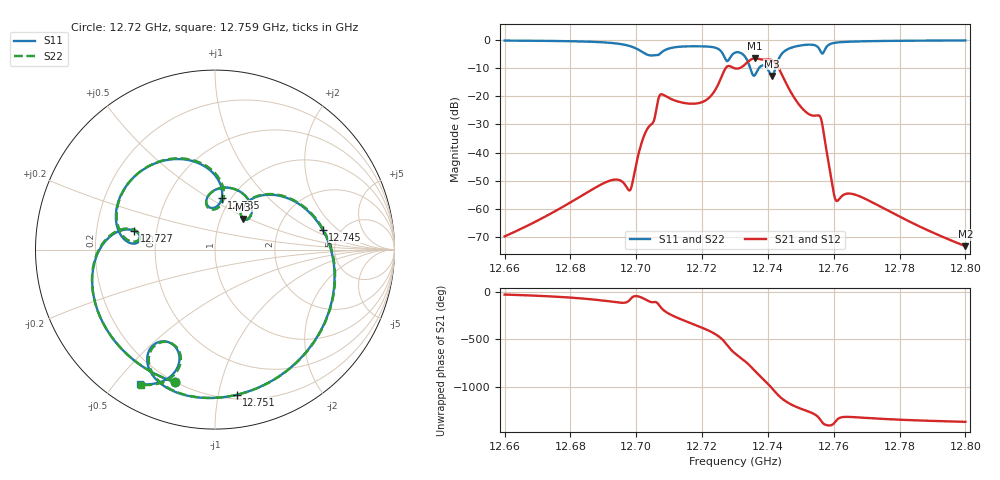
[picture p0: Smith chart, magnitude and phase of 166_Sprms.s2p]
! TOUCHSTONE file generated by CST MICROWAVE STUDIO
! Date and time: Wed Jul 31 19:15:07 2024
! Project name: WaveGuide_BPF-Ver4.1_U-shape_Ku_T3_C4_CWA_2.cst
! Parameters = {cavity_h=16; cavity_l0=10; cavity_l1=15.232; cavity_l2=16.8525; cavity_l3=17.1352; cavity_l4=17.2266; cavity_l5=17.0977; cavity_l6=17.6213; cavity_r=2.5; cavity_screw_l=0.5; cavity_screw_r=1.5; cavity_w=8; iris_h00=0; iris_h01=8.7997; iris_h112=0; iris_h12=5.5967; iris_h211=3.6645; i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
! Header version: 2018
! Port assignment regex: !\s*Touchstone port\s*([0-9]+)\s*=\s*(CST MWS port|CST DS port)\s*([0-9]+|Zmin|Zmax)\s*\(\"(.*)\"\)(\s*mode\s*([0-9]+))?.*
! Touchstone port assignment:
! Touchstone port 1 = CST MWS port 1 ("")
! Touchstone port 2 = CST MWS port 2 ("")
# GHz S RI R 50
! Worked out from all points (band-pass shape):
!   5001 points, 12.66 GHz to 12.8 GHz, reference 50 ohm
!   highest |S21| = -6.51 dB at 12.736 GHz (marker M1); lowest = -73.2 dB at 12.8 GHz (marker M2)
!   |S21| within 3 dB of the highest: 12.72749 GHz to 12.72891 GHz (1.423 MHz wide, 0.0112 % of centre); 12.73214 GHz to 12.74305 GHz (10.91 MHz wide, 0.0856 % of centre)
!   lowest |S11| = -12.7 dB at 12.741 GHz (marker M3), VSWR 1.60, Z = 63.7 + j23 ohm
!   |S11| at or under -10 dB: 12.73464 GHz to 12.73727 GHz (2.63 MHz wide, 0.0206 % of centre); 12.73975 GHz to 12.74227 GHz (2.526 MHz wide, 0.0198 % of centre)
!   |S22| runs from -13.0 to -0.1 dB; largest |S21 - S12| = 1e-09
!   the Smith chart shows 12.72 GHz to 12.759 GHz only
!   S11 on the Smith chart (normalised r, x): 12.72 GHz: 0.20, -0.73; 12.727 GHz: 0.37, +0.10; 12.735 GHz: 0.91, +0.57; 12.745 GHz: 3.64, +1.29; 12.751 GHz: 0.23, -1.13; 12.759 GHz: 0.10, -0.58
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12.66  0.3825 0.9001  0.000289 -0.000149  0.000289 -0.000149  0.3817 0.9006
12.68335  0.8354 0.4386  0.000641 -0.00158  0.000641 -0.00158  0.8337 0.4423
12.69377  0.8351 -0.252  -0.00102 -0.00317  -0.00102 -0.00317  0.8365 -0.2472
12.6997  0.1453 -0.7039  0.00379 -0.00357  0.00379 -0.00357  0.1427 -0.7013
12.70348  -0.5339 -0.1147  -0.000825 -0.0272  -0.000825 -0.0272  -0.5334 -0.0968
12.70668  -0.0692 0.5394  -0.0532 -0.07  -0.0532 -0.07  -0.0516 0.5451
12.71261  0.7502 -0.0882  0.00513 0.081  0.00513 0.081  0.7517 -0.0939
12.72034  -0.2215 -0.7389  0.075 -0.0291  0.075 -0.0291  -0.2243 -0.7377
12.72706  -0.4499 0.1053  -0.3097 -0.0234  -0.3097 -0.0234  -0.4521 0.1113
12.73  -0.5459 0.241  0.0904 0.3004  0.0904 0.3004  -0.5396 0.2544
12.73484  0.0379 0.2886  0.1742 -0.4156  0.1742 -0.4156  0.0467 0.2795
12.73608  -0.0335 0.237  -0.1767 -0.4381  -0.1767 -0.4381  -0.0328 0.2287
12.73846  0.0976 0.3409  -0.4365 0.1059  -0.4365 0.1059  0.0948 0.341
12.74123  0.155 0.1708  0.1717 0.4071  0.1717 0.4071  0.155 0.1739
12.7447  0.5997 0.1111  0.1271 -0.1723  0.1271 -0.1723  0.5998 0.118
12.75108  0.1209 -0.8089  -0.0532 -0.0164  -0.0532 -0.0164  0.1302 -0.8068
12.75335  -0.1862 -0.8053  -0.0446 0.0104  -0.0446 0.0104  -0.1785 -0.8056
12.7561  -0.3269 -0.5207  0.00188 0.0405  0.00188 0.0405  -0.3126 -0.5207
12.75909  -0.4163 -0.7493  0.00316 0.00235  0.00316 0.00235  -0.4133 -0.7525
12.76091  -0.5769 -0.6944  -4.71e-05 0.00138  -4.71e-05 0.00138  -0.5735 -0.6972
12.77668  -0.9591 -0.1113  -0.000176 0.000904  -0.000176 0.000904  -0.9588 -0.1124
12.8  -0.9244 0.3345  6.3e-05 0.000209  6.3e-05 0.000209  -0.9241 0.3353
